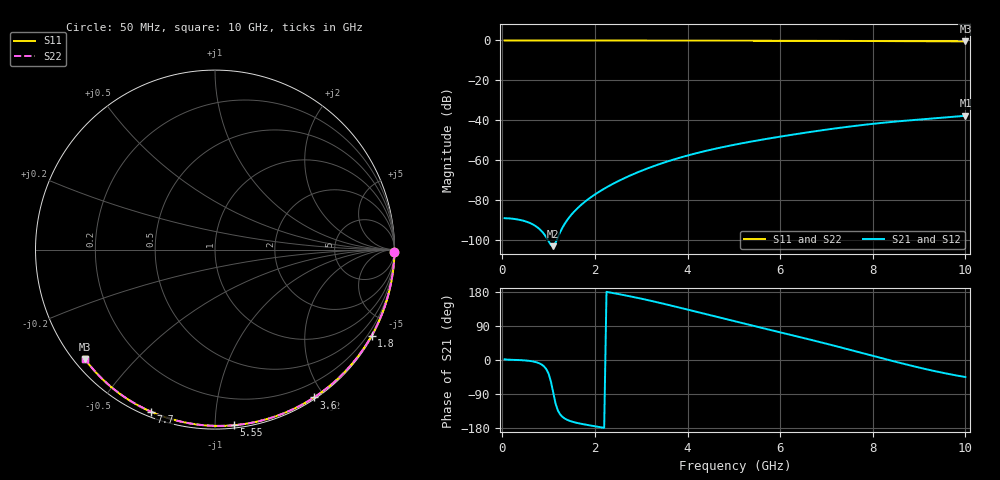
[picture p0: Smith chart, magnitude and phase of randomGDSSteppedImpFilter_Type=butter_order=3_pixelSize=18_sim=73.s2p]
! freq	dB(S11)	phase(S11)	dB(S12)	phase(S12)
!  dB(S21)	phase(S21)	dB(S22)	phase(S22)
!S-par simulation data
#  GHz  S  DB  R 50
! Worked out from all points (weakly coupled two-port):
!   200 points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, 50 MHz to 10 GHz, reference 50 ohm
!   highest |S21| = -37.69 dB at 10 GHz (marker M1); lowest = -103.0 dB at 1.1 GHz (marker M2)
!   lowest |S11| = -0.5 dB at 10 GHz (marker M3), VSWR 36.75, Z = 1.54 - j18.2 ohm
!   |S11| at or under -10 dB: nowhere
!   |S22| runs from -0.5 to 0.0 dB; largest |S21 - S12| = 0
!   S11 on the Smith chart (normalised r, x): 50 MHz: open; 1.8 GHz: 0.03, -3.89; 3.6 GHz: 0.02, -1.87; 5.55 GHz: 0.02, -1.12; 7.7 GHz: 0.02, -0.68; 10 GHz: 0.03, -0.36
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0.05  -0.00 -0.8  -88.99 1.9  -88.99 1.9  -0.00 -0.8
0.55  -0.01 -8.9  -90.97 -1.8  -90.97 -1.8  -0.01 -8.9
1.1  -0.02 -17.7  -103.00 -86.5  -103.00 -86.5  -0.02 -17.7
1.75  -0.04 -28.0  -81.39 -169.5  -81.39 -169.5  -0.04 -28.0
1.8  -0.04 -28.8  -80.45 -170.6  -80.45 -170.6  -0.04 -28.8
1.85  -0.04 -29.6  -79.56 -171.7  -79.56 -171.7  -0.04 -29.6
2.05  -0.04 -32.7  -76.34 -175.9  -76.34 -175.9  -0.04 -32.7
2.25  -0.05 -35.8  -73.55 179.8  -73.55 179.8  -0.05 -35.8
2.55  -0.05 -40.4  -69.89 173.1  -69.89 173.1  -0.05 -40.4
2.95  -0.06 -46.5  -65.76 163.2  -65.76 163.2  -0.06 -46.5
3.4  -0.07 -53.2  -61.86 150.8  -61.86 150.8  -0.07 -53.2
3.6  -0.08 -56.2  -60.33 145.0  -60.33 145.0  -0.08 -56.2
3.9  -0.08 -60.6  -58.25 136.0  -58.25 136.0  -0.08 -60.6
4.3  -0.09 -66.4  -55.81 123.9  -55.81 123.9  -0.09 -66.3
5.05  -0.12 -76.9  -52.04 101.2  -52.04 101.2  -0.12 -76.9
5.55  -0.14 -83.8  -49.90 86.3  -49.90 86.3  -0.14 -83.7
6.1  -0.16 -91.1  -47.78 70.1  -47.78 70.1  -0.16 -91.1
6.7  -0.19 -99.0  -45.64 52.2  -45.64 52.2  -0.19 -98.9
7.7  -0.25 -111.7  -42.54 20.7  -42.54 20.7  -0.26 -111.6
8.35  -0.30 -119.8  -40.92 -0.2  -40.92 -0.2  -0.31 -119.7
9.2  -0.38 -130.2  -39.24 -25.6  -39.24 -25.6  -0.39 -130.0
10  -0.47 -139.9  -37.69 -45.0  -37.69 -45.0  -0.47 -139.9
